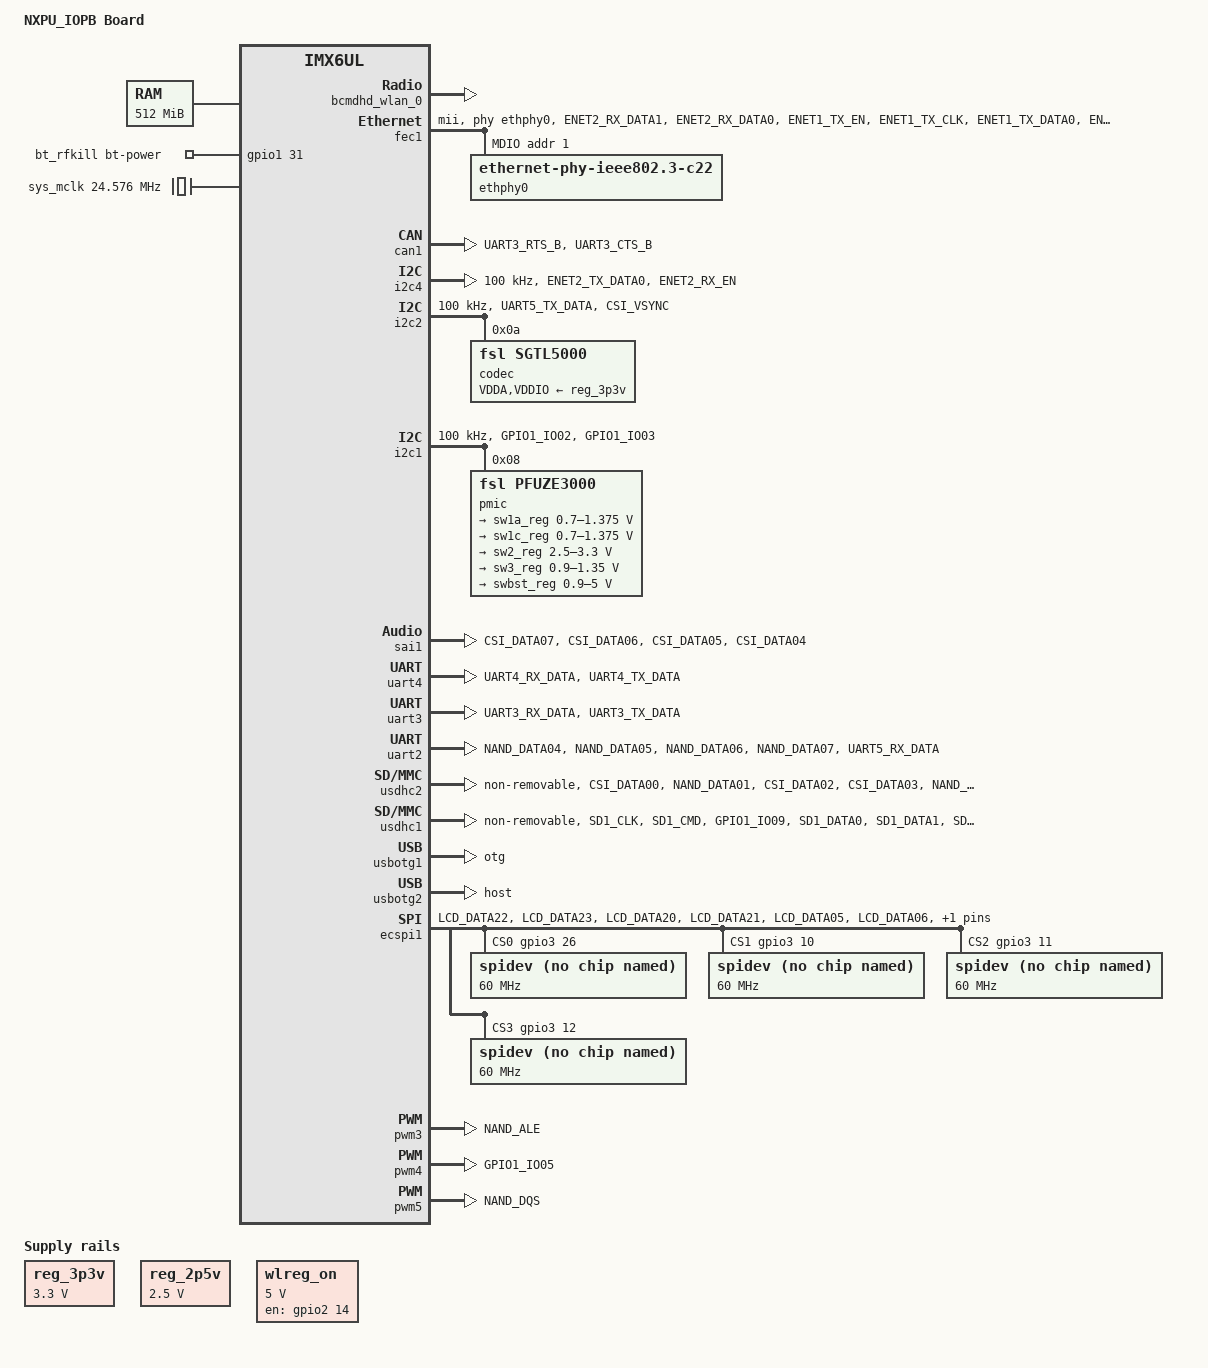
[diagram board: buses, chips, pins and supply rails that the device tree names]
/*
 * Copyright (C) 2016 Freescale Semiconductor, Inc.
 * Copyright 2017 NXP
 *
 * This program is free software; you can redistribute it and/or modify
 * it under the terms of the GNU General Public License version 2 as
 * published by the Free Software Foundation.
 */

/dts-v1/;

#include <dt-bindings/input/input.h>
#include "imx6ul.dtsi"

/ {
	model = "NXPU_IOPB Board";
	compatible = "fsl,imx6ul-nxpu-iopb", "fsl,imx6ul";

	chosen {
		stdout-path = &uart3;
		bootargs = "console=ttymxc2,115200 root=/dev/ram0";

	};

	memory {
		reg = <0x80000000 0x20000000>;
	};

	reserved-memory {
		#address-cells = <1>;
		#size-cells = <1>;
		ranges;

		linux,cma {
			compatible = "shared-dma-pool";
			reusable;
			size = <0x14000000>;
			linux,cma-default;
		};
	};

	regulators {
		compatible = "simple-bus";
		#address-cells = <1>;
		#size-cells = <0>;

		reg_3p3v: 3p3v {
			compatible = "regulator-fixed";
			regulator-name = "3P3V";
			regulator-min-microvolt = <3300000>;
			regulator-max-microvolt = <3300000>;
			regulator-always-on;
		};

		reg_2p5v: 2p5v {
			compatible = "regulator-fixed";
			regulator-name = "2P5V";
			regulator-min-microvolt = <2500000>;
			regulator-max-microvolt = <2500000>;
			regulator-always-on;
		};

		wlreg_on: fixedregulator@100 {
		compatible = "regulator-fixed";
		regulator-min-microvolt = <5000000>;
		regulator-max-microvolt = <5000000>;
		regulator-name = "wlreg_on";
		gpio = <&gpio2 14 0>;
		startup-delay-us = <100>;
		enable-active-high;
		};

		bcmdhd_wlan_0: bcmdhd_wlan@0 {
				   compatible = "android,bcmdhd_wlan";
				   wlreg_on-supply = <&wlreg_on>;
		};
	};

	bt_rfkill {
		compatible = "fsl,mxc_bt_rfkill";
		bt-power-gpios = <&gpio1 31 0>;
		status ="okay";
	};

	clocks {
		sys_mclk: sys_mclk {
			compatible = "fixed-clock";
			#clock-cells = <0>;
			clock-frequency = <24576000>;
		};
	};

	sound {
		compatible = "fsl,imx-audio-sgtl5000";
		model = "imx6ul-sgtl5000";
		audio-cpu = <&sai1>;
		audio-codec = <&codec>;
		audio-routing =
			"LINE_IN", "Line In Jack",
			"MIC_IN", "Mic Jack",
			"Mic Jack", "Mic Bias",
			"Headphone Jack", "HP_OUT";
	};
};

&fec1 {
	pinctrl-names = "default";
	pinctrl-0 = <&pinctrl_enet1>;
	phy-mode = "mii";
	phy-handle = <&ethphy0>;
	status = "okay";

	mdio {
		#address-cells = <1>;
		#size-cells = <0>;

		ethphy0: ethernet-phy@1 {
			compatible = "ethernet-phy-ieee802.3-c22";
			reg = <1>;
		};
/*
		ethphy1: ethernet-phy@2 {
			compatible = "ethernet-phy-ieee802.3-c22";
			reg = <2>;
		};
*/
	};
};

&cpu0 {
	arm-supply = <&reg_arm>;
	soc-supply = <&reg_soc>;
/*	dc-supply = <&reg_gpio_dvfs>;*/
};

&clks {
	assigned-clocks = <&clks IMX6UL_CLK_PLL4_AUDIO_DIV>;
	assigned-clock-rates = <786432000>;
};

&can1 {
	pinctrl-names = "default";
	pinctrl-0 = <&pinctrl_flexcan1>;
	status = "okay";
};

&i2c4 {
	clock-frequency = <100000>;
	pinctrl-names = "default";
	pinctrl-0 = <&pinctrl_i2c4>;
	status = "okay";
};

&i2c2 {
	clock-frequency = <100000>;
	pinctrl-names = "default";
	pinctrl-0 = <&pinctrl_i2c2>;
	status = "okay";

	codec: sgtl5000@0a {
		   reg = <0x0a>;
		   compatible = "fsl,sgtl5000";
		   clocks = <&clks IMX6UL_CLK_SAI1>;
		   assigned-clocks = <&clks IMX6UL_CLK_SAI1_SEL>,
				     <&clks IMX6UL_CLK_SAI1>;
		   assigned-clock-parents = <&clks IMX6UL_CLK_PLL4_AUDIO_DIV>;
		   assigned-clock-rates = <0>, <24576000>;
		   /* set SAI1_MCLK_DIR to enable codec MCLK on imx6ul */
		   gpr = <&gpr 4 0x80000 0x80000>;
		   VDDA-supply = <&reg_3p3v>;
		   VDDIO-supply = <&reg_3p3v>;
	   };
};

&i2c1 {
	clock-frequency = <100000>;
	pinctrl-names = "default";
	pinctrl-0 = <&pinctrl_i2c1>;
	status = "okay";

	pmic: pfuze3000@08 {
		  compatible = "fsl,pfuze3000";
		  reg = <0x08>;

		  regulators {
			sw1a_reg: sw1a {
			  regulator-min-microvolt = <700000>;
			  regulator-max-microvolt = <1375000>;
			  regulator-boot-on;
			  regulator-always-on;
			  regulator-ramp-delay = <6250>;
			};

			sw1c_reg: sw1b {
			  regulator-min-microvolt = <700000>;
			  regulator-max-microvolt = <1375000>;
			  regulator-boot-on;
			  regulator-always-on;
			  regulator-ramp-delay = <6250>;
			};

			sw2_reg: sw2 {
			 regulator-min-microvolt = <2500000>;
			 regulator-max-microvolt = <3300000>;
			 regulator-boot-on;
			 regulator-always-on;
			};

			sw3_reg: sw3 {
			  regulator-min-microvolt = <900000>;
			  regulator-max-microvolt = <1350000>;
			  regulator-boot-on;
			  regulator-always-on;
			};

			swbst_reg: swbst {
			  regulator-min-microvolt = <900000>;
			  regulator-max-microvolt = <5000000>;
			  regulator-boot-on;
			  regulator-always-on;
			};
		};
	};
};

&iomuxc {
	pinctrl-names = "default";
	pinctrl-0 = <&pinctrl_hog_1>;

	imx6ul-nxpu-iopb {
		pinctrl_hog_1: hoggrp-1 {
				   fsl,pins = <
					MX6UL_PAD_CSI_DATA01__SAI1_MCLK		0x17088
					   >;
			   };

		pinctrl_i2c1: i2c1grp {
			fsl,pins = <
				MX6UL_PAD_GPIO1_IO02__I2C1_SCL	0x4001b8b0
				MX6UL_PAD_GPIO1_IO03__I2C1_SDA	0x4001b8b0
			>;
		};

		pinctrl_i2c2: i2c2grp {
			fsl,pins = <
				MX6UL_PAD_UART5_TX_DATA__I2C2_SCL	0x4001b8b0
				MX6UL_PAD_CSI_VSYNC__I2C2_SDA		0x4001b8b0
			>;
		};

		pinctrl_i2c4: i2c4grp {
			fsl,pins = <
				MX6UL_PAD_ENET2_TX_DATA0__I2C4_SDA	0x4001b8b0
				MX6UL_PAD_ENET2_RX_EN__I2C4_SCL		0x4001b8b0
			>;
		};

		pinctrl_uart4: uart4grp {
			fsl,pins = <
				MX6UL_PAD_UART4_RX_DATA__UART4_DCE_RX	0x1b0b1
				MX6UL_PAD_UART4_TX_DATA__UART4_DCE_TX	0x1b0b1
			>;
		};

		pinctrl_uart3: uart3grp {
			fsl,pins = <
				MX6UL_PAD_UART3_RX_DATA__UART3_DCE_RX	0x1b0b1
				MX6UL_PAD_UART3_TX_DATA__UART3_DCE_TX	0x1b0b1
			>;
		};

		pinctrl_uart2: uart2grp {
			fsl,pins = <
				MX6UL_PAD_NAND_DATA04__UART2_DCE_TX     0x1b0b1
				MX6UL_PAD_NAND_DATA05__UART2_DCE_RX     0x1b0b1
				MX6UL_PAD_NAND_DATA06__UART2_DCE_CTS    0x1b0b1
				MX6UL_PAD_NAND_DATA07__UART2_DCE_RTS    0x1b0b1
				MX6UL_PAD_UART5_RX_DATA__GPIO1_IO31     0x3029	/*BT REG ON*/
			>;
		};

		pinctrl_usdhc2: usdhc2grp {
					fsl,pins = <
						MX6UL_PAD_CSI_DATA00__USDHC2_DATA0  0x17059
						MX6UL_PAD_NAND_DATA01__USDHC2_DATA1 0x17059
						MX6UL_PAD_CSI_DATA02__USDHC2_DATA2  0x17059
						MX6UL_PAD_CSI_DATA03__USDHC2_DATA3  0x17059
						MX6UL_PAD_NAND_RE_B__USDHC2_CLK     0x10069
						MX6UL_PAD_CSI_HSYNC__USDHC2_CMD     0x17059
						>;
		};

		pinctrl_wifi: wifigrp {
				  fsl,pins = <
					  MX6UL_PAD_ENET2_RX_ER__GPIO2_IO15 0x3029  /* WIFI_HST_WK */
					  MX6UL_PAD_ENET2_TX_CLK__GPIO2_IO14    0x3029  /* WL_REG_ON */
					  >;
		};


		pinctrl_usdhc1: usdhc1grp {
			fsl,pins = <
				MX6UL_PAD_SD1_CLK__USDHC1_CLK			0x10069
				MX6UL_PAD_SD1_CMD__USDHC1_CMD			0x17059
				MX6UL_PAD_GPIO1_IO09__USDHC1_RESET_B	0x17059
				MX6UL_PAD_SD1_DATA0__USDHC1_DATA0		0x17059
				MX6UL_PAD_SD1_DATA1__USDHC1_DATA1		0x17059
				MX6UL_PAD_SD1_DATA2__USDHC1_DATA2		0x17059
				MX6UL_PAD_SD1_DATA3__USDHC1_DATA3		0x17059
				MX6UL_PAD_NAND_READY_B__USDHC1_DATA4	0x17059
				MX6UL_PAD_NAND_CE0_B__USDHC1_DATA5		0x17059
				MX6UL_PAD_NAND_CE1_B__USDHC1_DATA6		0x17059
				MX6UL_PAD_NAND_CLE__USDHC1_DATA7		0x17059
			>;
		};

		pinctrl_sai3: sai3grp {
			fsl,pins = <
				MX6UL_PAD_LCD_DATA15__SAI3_TX_DATA	0x17088
				MX6UL_PAD_LCD_DATA14__SAI3_RX_DATA	0x17088
				MX6UL_PAD_LCD_DATA13__SAI3_TX_BCLK	0x17088
				MX6UL_PAD_LCD_DATA12__SAI3_TX_SYNC	0x17088
				MX6UL_PAD_LCD_DATA11__SAI3_RX_BCLK	0x17088
				MX6UL_PAD_LCD_CLK__SAI3_MCLK		0x17088
			>;
		};

		pinctrl_sai1: sai1grp {
			fsl,pins = <
				MX6UL_PAD_CSI_DATA07__SAI1_TX_DATA	0x17088
				MX6UL_PAD_CSI_DATA06__SAI1_RX_DATA	0x17088
				MX6UL_PAD_CSI_DATA05__SAI1_TX_BCLK	0x17088
				MX6UL_PAD_CSI_DATA04__SAI1_TX_SYNC	0x17088
			>;
		};

		pinctrl_spi1: spi1grp {
			fsl,pins = <
				MX6UL_PAD_LCD_DATA22__ECSPI1_MOSI	0x70a1
				MX6UL_PAD_LCD_DATA23__ECSPI1_MISO	0x70a1
				MX6UL_PAD_LCD_DATA20__ECSPI1_SCLK	0x70a1
				MX6UL_PAD_LCD_DATA21__GPIO3_IO26	0x70a1
				MX6UL_PAD_LCD_DATA05__GPIO3_IO10	0x70a1
				MX6UL_PAD_LCD_DATA06__GPIO3_IO11	0x70a1
				MX6UL_PAD_LCD_DATA07__GPIO3_IO12	0x70a1
			>;
		};

		pinctrl_enet1: enet1grp {
			fsl,pins = <
				MX6UL_PAD_ENET2_RX_DATA1__ENET1_MDC		0x1b0b0
				MX6UL_PAD_ENET2_RX_DATA0__ENET1_MDIO		0x1b0b0
				MX6UL_PAD_ENET1_TX_EN__ENET1_TX_EN		0x1b0b0
				MX6UL_PAD_ENET1_TX_CLK__ENET1_TX_CLK		0x4001b031
				MX6UL_PAD_ENET1_TX_DATA0__ENET1_TDATA00		0x1b0b0
				MX6UL_PAD_ENET1_TX_DATA1__ENET1_TDATA01		0x1b0b0
				MX6UL_PAD_UART2_TX_DATA__ENET1_TDATA02		0x1b0b0
				MX6UL_PAD_UART2_RX_DATA__ENET1_TDATA03		0x1b0b0
				MX6UL_PAD_ENET1_RX_ER__ENET1_RX_ER		0x1b0b0
				MX6UL_PAD_ENET1_RX_EN__ENET1_RX_EN		0x1b0b0
				MX6UL_PAD_UART1_CTS_B__ENET1_RX_CLK		0x4001b031
				MX6UL_PAD_ENET1_RX_DATA0__ENET1_RDATA00		0x1b0b0
				MX6UL_PAD_ENET1_RX_DATA1__ENET1_RDATA01		0x1b0b0
				MX6UL_PAD_UART1_TX_DATA__ENET1_RDATA02		0x1b0b0
				MX6UL_PAD_UART1_RX_DATA__ENET1_RDATA03		0x1b0b0
				MX6UL_PAD_UART2_CTS_B__ENET1_CRS		0x1b0b0
				MX6UL_PAD_UART2_RTS_B__ENET1_COL		0x1b0b0
				MX6UL_PAD_LCD_HSYNC__GPIO3_IO02			0x1b0b0		/*RESET*/
			>;
		};

		pinctrl_pwm3: pwm3grp {
			fsl,pins = <
				MX6UL_PAD_NAND_ALE__PWM3_OUT	0x110b0
			>;
		};

		pinctrl_pwm4: pwm4grp {
			fsl,pins = <
				MX6UL_PAD_GPIO1_IO05__PWM4_OUT	0x110b0
			>;
		};

		pinctrl_pwm5: pwm5grp {
			fsl,pins = <
				MX6UL_PAD_NAND_DQS__PWM5_OUT	0x110b0
			>;
		};

		pinctrl_flexcan1: flexcan1grp{
			fsl,pins = <
				MX6UL_PAD_UART3_RTS_B__FLEXCAN1_RX  0x1b020
				MX6UL_PAD_UART3_CTS_B__FLEXCAN1_TX  0x1b020
			>;
		};

	};
};

&sai1 {
	pinctrl-names = "default";
	pinctrl-0 = <&pinctrl_sai1>;

	status = "okay";
};

&uart4 {
	pinctrl-names = "default";
	pinctrl-0 = <&pinctrl_uart4>;
	status = "okay";
};

&uart3 {
	pinctrl-names = "default";
	pinctrl-0 = <&pinctrl_uart3>;
	status = "okay";
};

&uart2 {
	pinctrl-names = "default";
	pinctrl-0 = <&pinctrl_uart2>;
	fsl,uart-has-rtscts;
	/* for DTE mode, add below change */
	/*	fsl,dte-mode;*/
	/* pinctrl-0 = <&pinctrl_uart2dte>; */
	status = "okay";
};

/* wifi */

&usdhc2 {
	pinctrl-names = "default";
	pinctrl-0 = <&pinctrl_usdhc2 &pinctrl_wifi>;
	no-1-8-v;
	non-removable;
	cd-post;
	enable-sdio-wakeup;
	status = "okay";
	pm-ignore-notify;
	wifi-host; /* add hook for SD card detect mechanism for BCMDHD driver */
};

&usdhc1 {
	pinctrl-names = "default";
	pinctrl-0 = <&pinctrl_usdhc1>;
	no-1-8-v;
	non-removable;
	keep-power-in-suspend;
	enable-sdio-wakeup;
	status = "okay";
};

&usbotg1 {
	dr_mode = "otg";
	srp-disable;
	hnp-disable;
	adp-disable;
	status = "okay";
};

&usbotg2 {
	dr_mode = "host";
	disable-over-current;
	status = "okay";
};

&usbphy1 {
	tx-d-cal = <0x5>;
};

&usbphy2 {
	tx-d-cal = <0x5>;
};

&ecspi1 {
	fsl,spi-num-chipselects = <4>;
	cs-gpios = <&gpio3 26 GPIO_ACTIVE_HIGH>,
		   <&gpio3 10 GPIO_ACTIVE_HIGH>,
		   <&gpio3 11 GPIO_ACTIVE_HIGH>,
		   <&gpio3 12 GPIO_ACTIVE_HIGH>;
	pinctrl-names = "default";
	pinctrl-0 = <&pinctrl_spi1>;
	status = "okay";

	spidev@0 {
		compatible = "rohm,dh2228fv";
		spi-max-frequency = <60000000>;
		reg = <0>;
	};

	spidev@1 {
		compatible = "rohm,dh2228fv";
		spi-max-frequency = <60000000>;
		reg = <1>;
	};

	spidev@2 {
		compatible = "rohm,dh2228fv";
		spi-max-frequency = <60000000>;
		reg = <2>;
	};

	spidev@3 {
		compatible = "rohm,dh2228fv";
		spi-max-frequency = <60000000>;
		reg = <3>;
	};
};

&pwm3 {
	pinctrl-names = "default";
	pinctrl-0 = <&pinctrl_pwm3>;
	clocks = <&clks IMX6UL_CLK_PWM3>,
		 <&clks IMX6UL_CLK_PWM3>;
	status = "okay";
};

&pwm4 {
	pinctrl-names = "default";
	pinctrl-0 = <&pinctrl_pwm4>;
	clocks = <&clks IMX6UL_CLK_PWM4>,
		 <&clks IMX6UL_CLK_PWM4>;
	status = "okay";
};

&pwm5 {
	pinctrl-names = "default";
	pinctrl-0 = <&pinctrl_pwm5>;
	clocks = <&clks IMX6UL_CLK_PWM5>,
		 <&clks IMX6UL_CLK_PWM5>;
	status = "okay";
};
